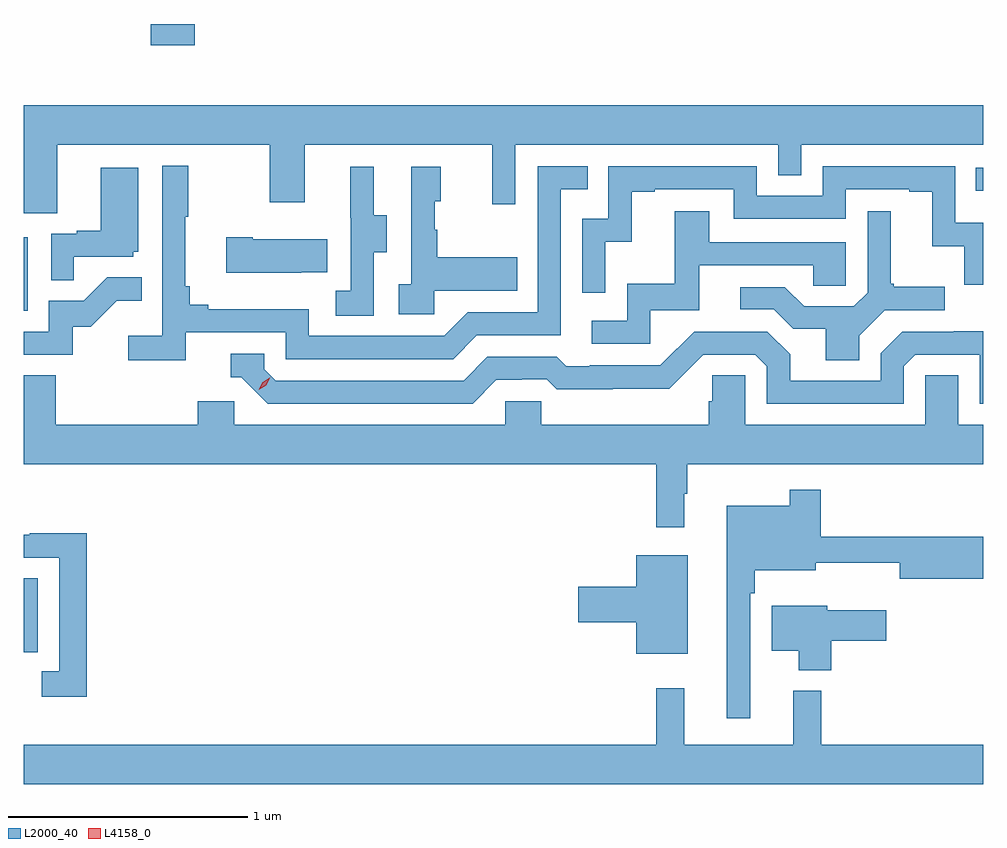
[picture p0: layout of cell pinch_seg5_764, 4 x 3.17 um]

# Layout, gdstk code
import gdstk
lib = gdstk.Library(unit=1e-6, precision=1e-09)
def R(c, l, rs):  # rectangles x0, y0, x1, y1
    for r in rs: c.add(gdstk.rectangle(r[:2], r[2:], *l))
def P(c, l, *ps):  # polygons
    for p in ps: c.add(gdstk.Polygon(p, *l))
L2000_40 = (2000, 40)
L4158_0 = (4158, 0)

pinch_seg5_764 = lib.new_cell('pinch_seg5_764')
R(pinch_seg5_764, L2000_40, [(854.555,899.934,854.614,900.241), (854.555,901.356,854.572,901.663), (858.523,901.856,858.555,901.953), (855.086,902.463,855.269,902.551)])
P(pinch_seg5_764, L2000_40, [(854.695,902.048),(855.58,902.048),(855.58,901.809),(855.727,901.809),(855.727,902.048),(856.508,902.048),(856.508,901.8),(856.605,901.8),(856.605,902.048),(857.7,902.048),(857.7,901.921),(857.796,901.921),(857.796,902.048),(858.555,902.048),(858.555,902.212),(854.555,902.212),(854.555,901.762),(854.695,901.762)],
  [(855.23,901.266),(855.648,901.266),(855.648,901.155),(856.345,901.155),(856.444,901.254),(856.794,901.254),(856.794,901.863),(856.907,901.863),(856.907,901.959),(856.698,901.959),(856.698,901.35),(856.407,901.35),(856.308,901.251),(855.744,901.251),(855.744,901.363),(855.325,901.363),(855.325,901.382),(855.248,901.382),(855.248,901.459),(855.229,901.459),(855.229,901.747),(855.241,901.747),(855.241,901.96),(855.132,901.96),(855.132,901.252),(854.991,901.252),(854.991,901.15),(855.23,901.15)],
  [(856.98,901.643),(857.09,901.643),(857.09,901.851),(857.185,901.851),(857.185,901.863),(857.514,901.863),(857.514,901.74),(857.982,901.74),(857.982,901.863),(858.245,901.863),(858.245,901.851),(858.341,901.851),(858.341,901.625),(858.474,901.625),(858.474,901.464),(858.555,901.464),(858.555,901.723),(858.438,901.723),(858.438,901.959),(857.886,901.959),(857.886,901.836),(857.61,901.836),(857.61,901.959),(856.992,901.959),(856.992,901.74),(856.884,901.74),(856.884,901.431),(856.98,901.431)],
  [(856.266,901.439),(856.613,901.439),(856.613,901.579),(856.279,901.579),(856.279,901.694),(856.269,901.694),(856.269,901.812),(856.294,901.812),(856.294,901.957),(856.17,901.957),(856.17,901.466),(856.119,901.466),(856.119,901.341),(856.266,901.341)],
  [(856.014,901.6),(856.069,901.6),(856.069,901.755),(856.015,901.755),(856.015,901.957),(855.917,901.957),(855.917,901.743),(855.918,901.743),(855.918,901.439),(855.855,901.439),(855.855,901.336),(856.014,901.336)],
  [(854.765,901.581),(855.012,901.581),(855.012,901.602),(855.034,901.602),(855.034,901.951),(854.876,901.951),(854.876,901.69),(854.777,901.69),(854.777,901.677),(854.67,901.677),(854.67,901.483),(854.765,901.483)],
  [(857.166,901.359),(857.371,901.359),(857.371,901.545),(857.845,901.545),(857.845,901.461),(857.982,901.461),(857.982,901.641),(857.413,901.641),(857.413,901.771),(857.269,901.771),(857.269,901.468),(857.07,901.468),(857.07,901.314),(856.923,901.314),(856.923,901.218),(857.166,901.218)],
  [(858.037,901.252),(858.144,901.359),(858.394,901.359),(858.394,901.456),(858.181,901.456),(858.181,901.468),(858.169,901.468),(858.169,901.771),(858.072,901.771),(858.072,901.431),(858.015,901.374),(857.809,901.374),(857.728,901.455),(857.541,901.455),(857.541,901.362),(857.682,901.362),(857.762,901.282),(857.897,901.282),(857.897,901.15),(858.037,901.15)],
  [(855.713,901.517),(855.821,901.517),(855.821,901.654),(855.511,901.654),(855.511,901.662),(855.399,901.662),(855.399,901.514),(855.713,901.514)],
  [(854.76,901.29),(854.836,901.29),(854.943,901.397),(855.047,901.397),(855.047,901.496),(854.903,901.496),(854.805,901.398),(854.661,901.398),(854.661,901.269),(854.555,901.269),(854.555,901.173),(854.76,901.173)],
  [(856.525,901.068),(856.632,901.068),(856.632,901.071),(856.735,901.071),(856.777,901.029),(857.01,901.029),(857.01,901.031),(857.246,901.031),(857.388,901.173),(857.604,901.173),(857.652,901.125),(857.652,900.969),(858.222,900.969),(858.222,901.125),(858.27,901.173),(858.54,901.173),(858.54,900.969),(858.555,900.969),(858.555,901.271),(858.432,901.271),(858.432,901.269),(858.216,901.269),(858.126,901.179),(858.126,901.065),(857.749,901.065),(857.749,901.175),(857.655,901.269),(857.349,901.269),(857.208,901.128),(856.915,901.128),(856.915,901.125),(856.816,901.125),(856.777,901.164),(856.488,901.164),(856.389,901.065),(855.606,901.065),(855.558,901.113),(855.558,901.176),(855.419,901.176),(855.419,901.08),(855.462,901.08),(855.573,900.969),(856.426,900.969)],
  [(857.308,900.593),(857.32,900.593),(857.32,900.716),(858.555,900.716),(858.555,900.88),(858.451,900.88),(858.451,901.088),(858.312,901.088),(858.312,900.88),(857.562,900.88),(857.562,901.088),(857.425,901.088),(857.425,900.978),(857.411,900.978),(857.411,900.88),(856.713,900.88),(856.713,900.978),(856.563,900.978),(856.563,900.88),(855.432,900.88),(855.432,900.978),(855.281,900.978),(855.281,900.88),(854.69,900.88),(854.69,901.088),(854.555,901.088),(854.555,900.716),(857.191,900.716),(857.191,900.453),(857.308,900.453)],
  [(857.583,900.179),(857.603,900.179),(857.603,900.275),(857.857,900.275),(857.857,900.305),(858.206,900.305),(858.206,900.239),(858.555,900.239),(858.555,900.415),(857.876,900.415),(857.876,900.61),(857.748,900.61),(857.748,900.544),(857.486,900.544),(857.486,899.658),(857.583,899.658)],
  [(854.819,900.428),(854.581,900.428),(854.581,900.423),(854.555,900.423),(854.555,900.327),(854.703,900.327),(854.703,899.853),(854.631,899.853),(854.631,899.748),(854.819,899.748)],
  [(857.323,900.337),(857.108,900.337),(857.108,900.206),(856.866,900.206),(856.866,900.059),(857.108,900.059),(857.108,899.927),(857.323,899.927)],
  [(857.921,899.98),(858.151,899.98),(858.151,900.109),(857.904,900.109),(857.904,900.127),(857.672,900.127),(857.672,899.939),(857.786,899.939),(857.786,899.858),(857.921,899.858)],
  [(858.555,899.548),(857.879,899.548),(857.879,899.773),(857.762,899.773),(857.762,899.548),(857.309,899.548),(857.309,899.782),(857.191,899.782),(857.191,899.548),(854.555,899.548),(854.555,899.384),(858.555,899.384)])
P(pinch_seg5_764, L4158_0, [(855.536,901.026),(855.536,901.026),(855.552,901.059),(855.583,901.078),(855.583,901.078),(855.583,901.078),(855.567,901.045),(855.536,901.026)])

lib.write_gds('pinch_seg5_764.gds')
